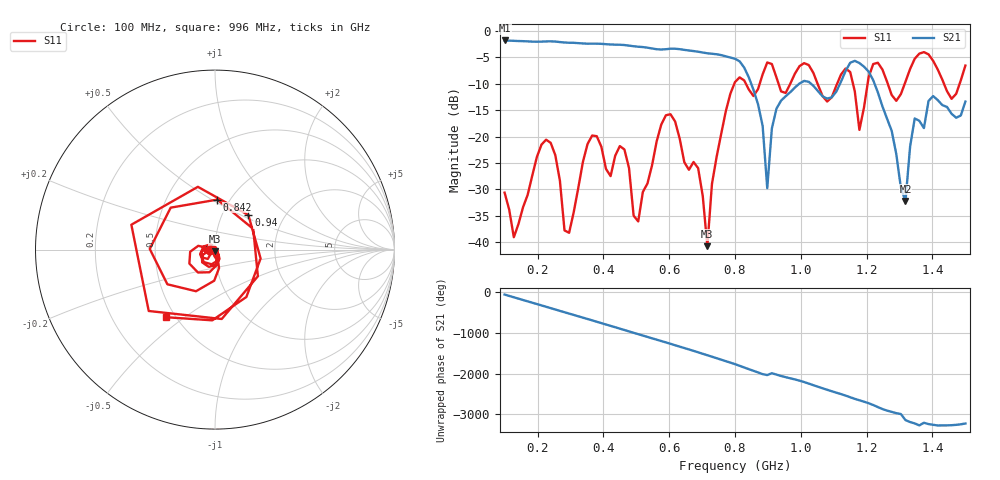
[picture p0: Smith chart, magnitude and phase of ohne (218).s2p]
! NanoVNA-App
! Date: 2025-09-25 14:22:29
! Start: 100MHz Stop: 1,5GHz Points: 101
! S-Parameter data: F S11 S21 S12 S22
# Hz S RI R 50
!  Frequency  S11_Real  S11_Imag  S21_Real  S21_Imag  S12_Real  S12_Imag  S22_Real  S22_Imag
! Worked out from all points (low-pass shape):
!   101 points, 100 MHz to 1.5 GHz, reference 50 ohm
!   highest |S21| = -1.79 dB at 100 MHz (marker M1); lowest = -32.2 dB at 1.318 GHz (marker M2)
!   |S21| within 3 dB of the highest: start of sweep to 771.4 MHz
!   lowest |S11| = -40.8 dB at 716 MHz (marker M3), VSWR 1.02, Z = 49.9 - j0.902 ohm
!   |S11| at or under -10 dB: start of sweep to 797.9 MHz; 833.1 MHz to 875.1 MHz (41.97 MHz wide, 4.91 % of centre); 1.051 GHz to 1.11 GHz (59.41 MHz wide, 5.5 % of centre) (the widest 3 of 7)
!   S12 and S22 are empty: the file has one direction only
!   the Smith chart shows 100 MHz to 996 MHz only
!   S11 on the Smith chart (normalised r, x): 100 MHz: 0.94, -0.01; 842 MHz: 0.88, +0.53; 940 MHz: 1.33, +0.55; 996 MHz: 0.45, -0.43
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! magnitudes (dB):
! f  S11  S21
! 100 MHz  -30.6  -1.8
! 128 MHz  -39.1  -1.9
! 226 MHz  -20.6  -2.0
! 296 MHz  -38.2  -2.2
! 338 MHz  -24.8  -2.4
! 464 MHz  -22.4  -2.7
! 506 MHz  -36.1  -3.0
! 576 MHz  -17.7  -3.5
! 688 MHz  -26.0  -3.9
! 716 MHz  -40.8  -4.2
! 800 MHz  -9.7  -5.3
! 842 MHz  -11.1  -8.8
! 898 MHz  -6.0  -29.8
! 940 MHz  -11.4  -13.2
! 996 MHz  -6.7  -9.9
! 1.038 GHz  -7.9  -10.4
! 1.178 GHz  -18.7  -6.1
! 1.22 GHz  -6.3  -9.3
! 1.276 GHz  -12.1  -18.9
! 1.318 GHz  -9.6  -32.2
! 1.346 GHz  -5.3  -16.6
! 1.5 GHz  -6.6  -13.4
